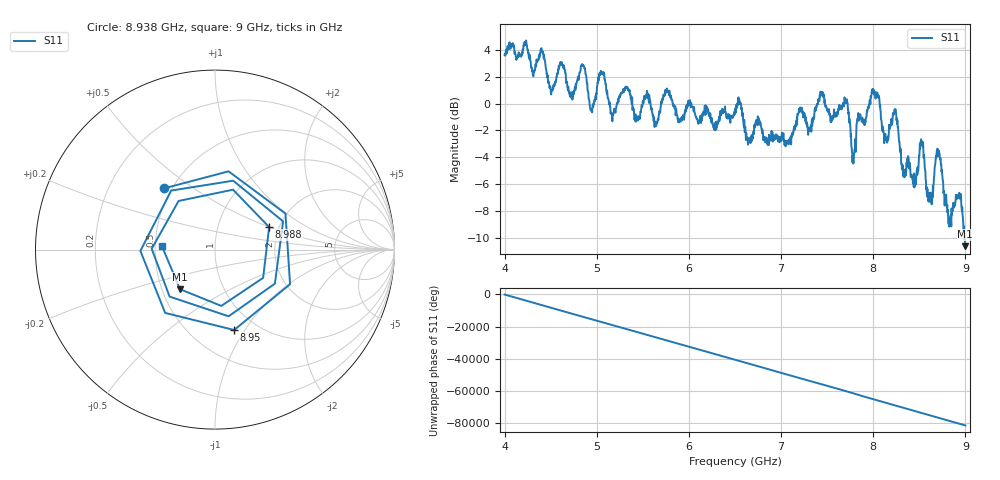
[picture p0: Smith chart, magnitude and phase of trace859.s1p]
! Created with skrf 1.8.0 (http://scikit-rf.org).
# Hz S RI R 50.0
!freq ReS11 ImS11
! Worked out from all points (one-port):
!   1601 points, 4 GHz to 9 GHz, reference 50 ohm
!   lowest |S11| = -10.6 dB at 8.997 GHz (marker M1), VSWR 1.83, Z = 30.9 - j15 ohm
!   |S11| at or under -10 dB: 8.989986 GHz to end of sweep
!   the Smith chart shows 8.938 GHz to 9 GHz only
!   S11 on the Smith chart (normalised r, x): 8.938 GHz: 0.45, +0.39; 8.95 GHz: 0.79, -0.90; 8.988 GHz: 1.77, +0.50; 9 GHz: 0.54, +0.02
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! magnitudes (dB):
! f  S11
! 4 GHz  3.6
! 4.406 GHz  3.9
! 4.509 GHz  1.0
! 4.625 GHz  2.8
! 4.725 GHz  0.7
! 4.853 GHz  2.8
! 4.944 GHz  -0.5
! 5.05 GHz  2.3
! 5.169 GHz  -1.3
! 5.25 GHz  0.6
! 5.875 GHz  -1.0
! 6.5 GHz  -0.7
! 7.125 GHz  -2.2
! 7.444 GHz  0.8
! 7.75 GHz  -1.6
! 7.788 GHz  -4.3
! 8.016 GHz  0.8
! 8.375 GHz  -4.5
! 8.447 GHz  -6.2
! 8.528 GHz  -2.9
! 8.619 GHz  -6.6
! 8.706 GHz  -3.5
! 8.822 GHz  -8.5
! 8.938 GHz  -7.1
! 8.95 GHz  -6.7
! 8.988 GHz  -9.7
! 8.997 GHz  -10.6
! 9 GHz  -10.6
